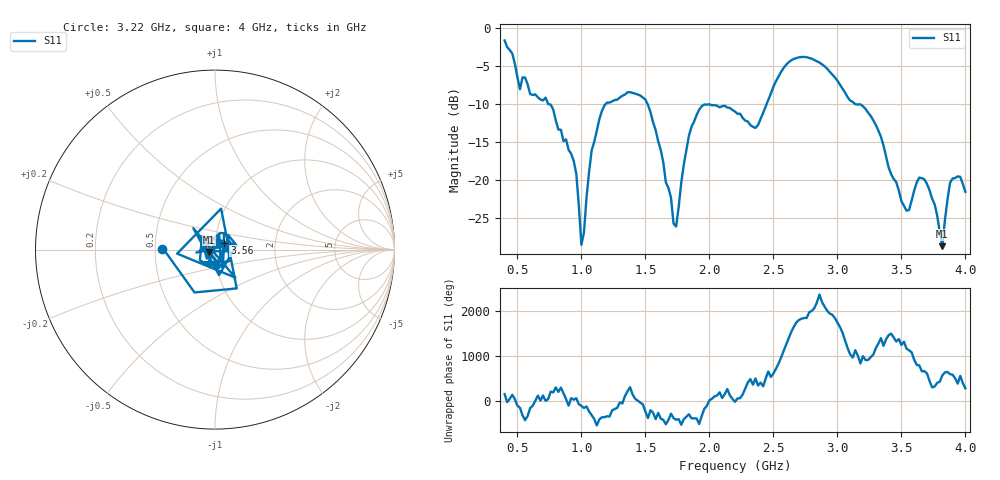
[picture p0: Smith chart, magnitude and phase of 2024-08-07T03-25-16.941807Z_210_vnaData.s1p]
!Created with skrf (http://scikit-rf.org).
# Hz S RI R 50.0
!freq ReS11 ImS11
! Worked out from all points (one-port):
!   181 points, 400 MHz to 4 GHz, reference 50 ohm
!   lowest |S11| = -28.6 dB at 3.82 GHz (marker M1), VSWR 1.08, Z = 46.6 - j1.2 ohm
!   |S11| at or under -10 dB: 743.9 MHz to 1.189 GHz (445.4 MHz wide, 46.1 % of centre); 1.517 GHz to 2.447 GHz (930.1 MHz wide, 46.9 % of centre); 3.139 GHz to end of sweep
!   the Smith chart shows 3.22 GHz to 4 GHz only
!   S11 on the Smith chart (normalised r, x): 3.22 GHz: 0.55, +0.00; 3.56 GHz: 1.11, +0.08; 4 GHz: 0.99, -0.17
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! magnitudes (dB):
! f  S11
! 400 MHz  -1.7
! 520 MHz  -8.1
! 560 MHz  -6.5
! 720 MHz  -9.2
! 860 MHz  -14.9
! 960 MHz  -19.1
! 1 GHz  -28.5
! 1.08 GHz  -16.1
! 1.14 GHz  -12.0
! 1.3 GHz  -9.1
! 1.5 GHz  -9.4
! 1.62 GHz  -16.0
! 1.72 GHz  -25.7
! 1.76 GHz  -23.5
! 1.84 GHz  -14.2
! 1.92 GHz  -10.7
! 2.2 GHz  -11.0
! 2.36 GHz  -13.1
! 2.66 GHz  -4.1
! 2.88 GHz  -4.8
! 3.1 GHz  -9.5
! 3.22 GHz  -10.6
! 3.56 GHz  -23.9
! 3.68 GHz  -19.9
! 3.76 GHz  -23.2
! 3.82 GHz  -28.6
! 3.88 GHz  -20.3
! 4 GHz  -21.5
